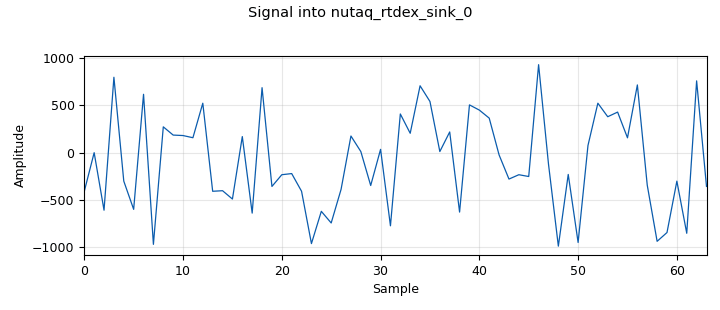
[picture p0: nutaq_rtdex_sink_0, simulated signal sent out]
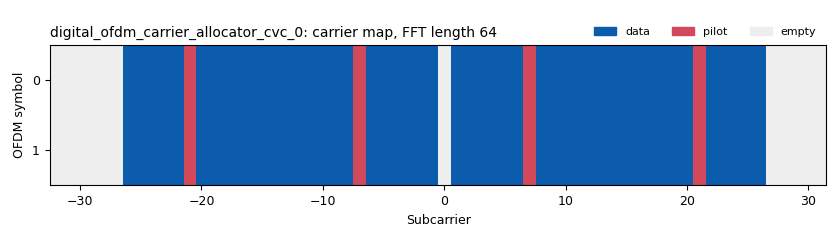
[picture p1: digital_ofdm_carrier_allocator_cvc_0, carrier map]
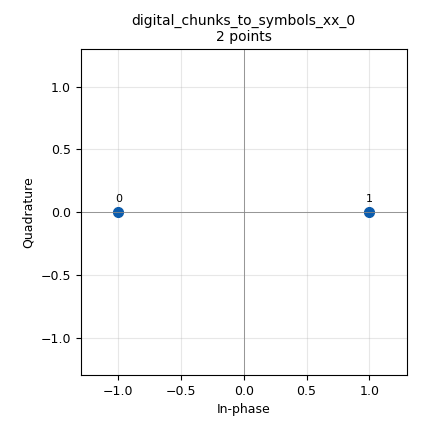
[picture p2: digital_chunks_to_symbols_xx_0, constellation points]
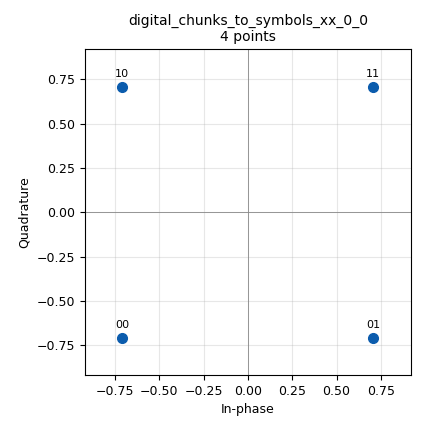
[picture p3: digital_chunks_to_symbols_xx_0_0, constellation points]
<?xml version='1.0' encoding='utf-8'?>
<?grc format='1' created='3.7.9'?>
<flow_graph>
<block>
<key>options</key>
<param><key>id</key><value>tx_ofdm</value></param>
<param><key>category</key><value>Custom</value></param>
<param><key>description</key><value>Example of an OFDM Transmitter</value></param>
<param><key>generate_options</key><value>no_gui</value></param>
<param><key>run_options</key><value>run</value></param>
<param><key>title</key><value>OFDM Tx</value></param>
</block>
<block>
<key>variable</key>
<param><key>id</key><value>fft_len</value></param>
<param><key>value</key><value>64</value></param>
</block>
<block>
<key>variable</key>
<param><key>id</key><value>header_formatter</value></param>
<param><key>value</key><value>digital.packet_header_ofdm(occupied_carriers, 1, length_tag_key)</value></param>
</block>
<block>
<key>variable</key>
<param><key>id</key><value>header_mod</value></param>
<param><key>value</key><value>digital.constellation_bpsk()</value></param>
</block>
<block>
<key>variable</key>
<param><key>id</key><value>length_tag_key</value></param>
<param><key>value</key><value>"packet_len"</value></param>
</block>
<block>
<key>variable</key>
<param><key>id</key><value>occupied_carriers</value></param>
<param><key>value</key><value>(range(-26, -21) + range(-20, -7) + range(-6, 0) + range(1, 7) + range(8, 21) + range(22, 27),)</value></param>
</block>
<block>
<key>variable</key>
<param><key>id</key><value>packet_len</value></param>
<param><key>value</key><value>96</value></param>
</block>
<block>
<key>variable</key>
<param><key>id</key><value>payload_mod</value></param>
<param><key>value</key><value>digital.constellation_qpsk()</value></param>
</block>
<block>
<key>variable</key>
<param><key>id</key><value>pilot_carriers</value></param>
<param><key>value</key><value>((-21, -7, 7, 21,),)</value></param>
</block>
<block>
<key>variable</key>
<param><key>id</key><value>pilot_symbols</value></param>
<param><key>value</key><value>((1, 1, 1, -1,),)</value></param>
</block>
<block>
<key>variable</key>
<param><key>id</key><value>rolloff</value></param>
<param><key>value</key><value>0</value></param>
</block>
<block>
<key>variable</key>
<param><key>id</key><value>samp_rate</value></param>
<param><key>value</key><value>5000000</value></param>
</block>
<block>
<key>variable</key>
<param><key>id</key><value>sync_word1</value></param>
<param><key>value</key><value>[0., 0., 0., 0., 0., 0., 0., 1.41421356, 0., -1.41421356, 0., 1.41421356, 0., -1.41421356, 0., -1.41421356, 0., -1.41421356, 0., 1.41421356, 0., -1.41421356, 0., 1.41421356, 0., -1.41421356, 0., -1.41421356, 0., -1.41421356, 0., -1.41421356, 0., 1.41421356, 0., -1.41421356, 0., 1.41421356, 0., 1.41421356, 0., 1.41421356, 0., -1.41421356, 0., 1.41421356, 0., 1.41421356, 0., 1.41421356, 0., -1.41421356, 0., 1.41421356, 0., 1.41421356, 0., 1.41421356, 0., 0., 0., 0., 0., 0.]</value></param>
</block>
<block>
<key>variable</key>
<param><key>id</key><value>sync_word2</value></param>
<param><key>value</key><value>[0, 0, 0, 0, 0, 0, -1, -1, -1, -1, 1, 1, -1, -1, -1, 1, -1, 1, 1, 1, 1, 1, -1, -1, -1, -1, -1, 1, -1, -1, 1, -1, 0, 1, -1, 1, 1, 1, -1, 1, 1, 1, -1, 1, 1, 1, 1, -1, 1, -1, -1, -1, 1, -1, 1, -1, -1, -1, -1, 0, 0, 0, 0, 0] </value></param>
</block>
<block>
<key>analog_const_source_x</key>
<param><key>id</key><value>analog_const_source_x_0</value></param>
<param><key>const</key><value>1</value></param>
<param><key>type</key><value>int</value></param>
</block>
<block>
<key>analog_random_source_x</key>
<param><key>id</key><value>analog_random_source_x_0</value></param>
<param><key>max</key><value>255</value></param>
<param><key>min</key><value>0</value></param>
<param><key>num_samps</key><value>1000</value></param>
<param><key>type</key><value>byte</value></param>
<param><key>repeat</key><value>True</value></param>
</block>
<block>
<key>blocks_complex_to_float</key>
<param><key>id</key><value>blocks_complex_to_float_0</value></param>
</block>
<block>
<key>blocks_float_to_short</key>
<param><key>id</key><value>blocks_float_to_short_0_0</value></param>
<param><key>scale</key><value>2**11-1</value></param>
</block>
<block>
<key>blocks_float_to_short</key>
<param><key>id</key><value>blocks_float_to_short_0_0_0</value></param>
<param><key>scale</key><value>2**11-1</value></param>
</block>
<block>
<key>blocks_interleave</key>
<param><key>id</key><value>blocks_interleave_0</value></param>
<param><key>type</key><value>short</value></param>
</block>
<block>
<key>blocks_multiply_const_vxx</key>
<param><key>id</key><value>blocks_multiply_const_vxx_0</value></param>
<param><key>const</key><value>0.05</value></param>
<param><key>type</key><value>complex</value></param>
</block>
<block>
<key>blocks_repack_bits_bb</key>
<param><key>id</key><value>blocks_repack_bits_bb_0</value></param>
<param><key>k</key><value>8</value></param>
<param><key>l</key><value>payload_mod.bits_per_symbol()</value></param>
<param><key>endianness</key><value>gr.GR_LSB_FIRST</value></param>
<param><key>len_tag_key</key><value>length_tag_key</value></param>
</block>
<block>
<key>blocks_stream_to_tagged_stream</key>
<param><key>id</key><value>blocks_stream_to_tagged_stream_0</value></param>
<param><key>len_tag_key</key><value>length_tag_key</value></param>
<param><key>packet_len</key><value>packet_len</value></param>
<param><key>type</key><value>byte</value></param>
</block>
<block>
<key>blocks_tag_gate</key>
<param><key>id</key><value>blocks_tag_gate_0</value></param>
<param><key>type</key><value>complex</value></param>
<param><key>propagate_tags</key><value>False</value></param>
</block>
<block>
<key>blocks_tagged_stream_mux</key>
<param><key>id</key><value>blocks_tagged_stream_mux_0</value></param>
<param><key>type</key><value>complex</value></param>
<param><key>lengthtagname</key><value>length_tag_key</value></param>
<param><key>ninputs</key><value>2</value></param>
</block>
<block>
<key>digital_chunks_to_symbols_xx</key>
<param><key>id</key><value>digital_chunks_to_symbols_xx_0</value></param>
<param><key>dimension</key><value>1</value></param>
<param><key>in_type</key><value>byte</value></param>
<param><key>out_type</key><value>complex</value></param>
<param><key>symbol_table</key><value>header_mod.points()</value></param>
</block>
<block>
<key>digital_chunks_to_symbols_xx</key>
<param><key>id</key><value>digital_chunks_to_symbols_xx_0_0</value></param>
<param><key>dimension</key><value>1</value></param>
<param><key>in_type</key><value>byte</value></param>
<param><key>out_type</key><value>complex</value></param>
<param><key>symbol_table</key><value>payload_mod.points()</value></param>
</block>
<block>
<key>digital_crc32_bb</key>
<param><key>id</key><value>digital_crc32_bb_0</value></param>
<param><key>lengthtagname</key><value>length_tag_key</value></param>
<param><key>check</key><value>False</value></param>
<param><key>packed</key><value>True</value></param>
</block>
<block>
<key>digital_ofdm_carrier_allocator_cvc</key>
<param><key>id</key><value>digital_ofdm_carrier_allocator_cvc_0</value></param>
<param><key>fft_len</key><value>fft_len</value></param>
<param><key>len_tag_key</key><value>length_tag_key</value></param>
<param><key>occupied_carriers</key><value>occupied_carriers</value></param>
<param><key>pilot_carriers</key><value>pilot_carriers</value></param>
<param><key>pilot_symbols</key><value>pilot_symbols</value></param>
<param><key>sync_words</key><value>(sync_word1, sync_word2)</value></param>
</block>
<block>
<key>digital_ofdm_cyclic_prefixer</key>
<param><key>id</key><value>digital_ofdm_cyclic_prefixer_0</value></param>
<param><key>cp_len</key><value>fft_len/4</value></param>
<param><key>input_size</key><value>fft_len</value></param>
<param><key>tagname</key><value>length_tag_key</value></param>
<param><key>rolloff</key><value>rolloff</value></param>
</block>
<block>
<key>digital_packet_headergenerator_bb</key>
<param><key>id</key><value>digital_packet_headergenerator_bb_0</value></param>
<param><key>header_formatter</key><value>header_formatter.formatter()</value></param>
<param><key>len_tag_key</key><value>"packet_len"</value></param>
</block>
<block>
<key>fft_vxx</key>
<param><key>id</key><value>fft_vxx_0</value></param>
<param><key>fft_size</key><value>fft_len</value></param>
<param><key>forward</key><value>False</value></param>
<param><key>type</key><value>complex</value></param>
<param><key>shift</key><value>True</value></param>
<param><key>window</key><value>()</value></param>
</block>
<block>
<key>virtual_sink</key>
<param><key>id</key><value>header_bits</value></param>
<param><key>stream_id</key><value>Header Bits</value></param>
</block>
<block>
<key>import</key>
<param><key>id</key><value>import_0</value></param>
<param><key>import</key><value>import numpy</value></param>
</block>
<block>
<key>import</key>
<param><key>id</key><value>import_0_0</value></param>
<param><key>import</key><value>import random</value></param>
</block>
<block>
<key>import</key>
<param><key>id</key><value>import_1</value></param>
<param><key>import</key><value>from gnuradio.digital.utils import tagged_streams</value></param>
</block>
<block>
<key>nutaq_carrier_perseus</key>
<param><key>id</key><value>nutaq_carrier_perseus_0</value></param>
<param><key>ip_addr</key><value>192.168.0.101</value></param>
</block>
<block>
<key>nutaq_custom_register</key>
<param><key>id</key><value>nutaq_custom_register_0</value></param>
<param><key>block_priority</key><value>5</value></param>
<param><key>index</key><value>4</value></param>
<param><key>value</key><value>0</value></param>
<param><key>target_id</key><value>nutaq_carrier_perseus_0</value></param>
<param><key>update_rate</key><value>1</value></param>
</block>
<block>
<key>nutaq_custom_register</key>
<param><key>id</key><value>nutaq_custom_register_0_0</value></param>
<param><key>block_priority</key><value>5</value></param>
<param><key>index</key><value>3</value></param>
<param><key>value</key><value>0</value></param>
<param><key>target_id</key><value>nutaq_carrier_perseus_0</value></param>
<param><key>update_rate</key><value>1</value></param>
</block>
<block>
<key>nutaq_custom_register</key>
<param><key>id</key><value>nutaq_custom_register_0_1</value></param>
<param><key>block_priority</key><value>6</value></param>
<param><key>index</key><value>1</value></param>
<param><key>value</key><value>6</value></param>
<param><key>target_id</key><value>nutaq_carrier_perseus_0</value></param>
<param><key>update_rate</key><value>1</value></param>
</block>
<block>
<key>nutaq_radio420_rx</key>
<param><key>id</key><value>nutaq_radio420_rx_0_0</value></param>
<param><key>calibrate</key><value>1</value></param>
<param><key>band</key><value>1</value></param>
<param><key>block_priority</key><value>1</value></param>
<param><key>selected_card</key><value>1</value></param>
<param><key>datarate</key><value>samp_rate*2</value></param>
<param><key>enable</key><value>1</value></param>
<param><key>pll_cpld_ctrl</key><value>0</value></param>
<param><key>rx_rf_filter</key><value>2</value></param>
<param><key>rx_gain_ctrl</key><value>0</value></param>
<param><key>rx_lna_gain</key><value>2</value></param>
<param><key>rx_lpf_bandwidth</key><value>6</value></param>
<param><key>rx_vga1_gain</key><value>1</value></param>
<param><key>rx_freq</key><value>2490000000</value></param>
<param><key>rx_gain2</key><value>20</value></param>
<param><key>rx_gain3</key><value>8</value></param>
<param><key>rf_ctrl</key><value>0</value></param>
<param><key>ref_clk_ctrl</key><value>0</value></param>
<param><key>reference</key><value>0</value></param>
<param><key>target_id</key><value>nutaq_carrier_perseus_0</value></param>
<param><key>update_rate</key><value>1</value></param>
</block>
<block>
<key>nutaq_radio420_tx</key>
<param><key>id</key><value>nutaq_radio420_tx_0_0</value></param>
<param><key>calibrate</key><value>1</value></param>
<param><key>band</key><value>0</value></param>
<param><key>block_priority</key><value>0</value></param>
<param><key>selected_card</key><value>1</value></param>
<param><key>datarate</key><value>samp_rate*2</value></param>
<param><key>enable</key><value>1</value></param>
<param><key>pll_cpld_ctrl</key><value>0</value></param>
<param><key>rf_ctrl</key><value>0</value></param>
<param><key>ref_clk_ctrl</key><value>0</value></param>
<param><key>reference</key><value>0</value></param>
<param><key>tx_gain_ctrl</key><value>0</value></param>
<param><key>tx_lpf_bandwidth</key><value>4</value></param>
<param><key>tx_vga1_gain</key><value>-10</value></param>
<param><key>tx_vga2_gain</key><value>15</value></param>
<param><key>tx_freq</key><value>2490000000</value></param>
<param><key>tx_gain3</key><value>3</value></param>
<param><key>target_id</key><value>nutaq_carrier_perseus_0</value></param>
<param><key>update_rate</key><value>1</value></param>
</block>
<block>
<key>nutaq_rtdex_sink</key>
<param><key>id</key><value>nutaq_rtdex_sink_0</value></param>
<param><key>block_priority</key><value>3</value></param>
<param><key>channels</key><value>1</value></param>
<param><key>type</key><value>short</value></param>
<param><key>media_type</key><value>0</value></param>
<param><key>num_chan</key><value>1</value></param>
<param><key>packet_size</key><value>8192</value></param>
<param><key>target_id</key><value>nutaq_carrier_perseus_0</value></param>
</block>
<block>
<key>virtual_sink</key>
<param><key>id</key><value>virtual_sink_0</value></param>
<param><key>stream_id</key><value>Time Domain</value></param>
</block>
<block>
<key>virtual_sink</key>
<param><key>id</key><value>virtual_sink_0_0</value></param>
<param><key>stream_id</key><value>Payload Bits</value></param>
</block>
<block>
<key>virtual_sink</key>
<param><key>id</key><value>virtual_sink_0_0_0</value></param>
<param><key>stream_id</key><value>Pre-OFDM</value></param>
</block>
<block>
<key>virtual_sink</key>
<param><key>id</key><value>virtual_sink_1</value></param>
<param><key>stream_id</key><value>Tx Signal</value></param>
</block>
<block>
<key>virtual_source</key>
<param><key>id</key><value>virtual_source_0</value></param>
<param><key>stream_id</key><value>Header Bits</value></param>
</block>
<block>
<key>virtual_source</key>
<param><key>id</key><value>virtual_source_0_0</value></param>
<param><key>stream_id</key><value>Payload Bits</value></param>
</block>
<block>
<key>virtual_source</key>
<param><key>id</key><value>virtual_source_0_0_0</value></param>
<param><key>stream_id</key><value>Pre-OFDM</value></param>
</block>
<block>
<key>virtual_source</key>
<param><key>id</key><value>virtual_source_0_0_0_0</value></param>
<param><key>stream_id</key><value>Time Domain</value></param>
</block>
<block>
<key>virtual_source</key>
<param><key>id</key><value>virtual_source_1</value></param>
<param><key>stream_id</key><value>Tx Signal</value></param>
</block>
<connection><source_block_id>analog_const_source_x_0</source_block_id><sink_block_id>nutaq_custom_register_0_0</sink_block_id><source_key>0</source_key><sink_key>0</sink_key></connection>
<connection><source_block_id>analog_random_source_x_0</source_block_id><sink_block_id>blocks_stream_to_tagged_stream_0</sink_block_id><source_key>0</source_key><sink_key>0</sink_key></connection>
<connection><source_block_id>blocks_complex_to_float_0</source_block_id><sink_block_id>blocks_float_to_short_0_0_0</sink_block_id><source_key>1</source_key><sink_key>0</sink_key></connection>
<connection><source_block_id>blocks_complex_to_float_0</source_block_id><sink_block_id>blocks_float_to_short_0_0</sink_block_id><source_key>0</source_key><sink_key>0</sink_key></connection>
<connection><source_block_id>blocks_float_to_short_0_0</source_block_id><sink_block_id>blocks_interleave_0</sink_block_id><source_key>0</source_key><sink_key>0</sink_key></connection>
<connection><source_block_id>blocks_float_to_short_0_0_0</source_block_id><sink_block_id>blocks_interleave_0</sink_block_id><source_key>0</source_key><sink_key>1</sink_key></connection>
<connection><source_block_id>blocks_interleave_0</source_block_id><sink_block_id>nutaq_rtdex_sink_0</sink_block_id><source_key>0</source_key><sink_key>0</sink_key></connection>
<connection><source_block_id>blocks_multiply_const_vxx_0</source_block_id><sink_block_id>blocks_tag_gate_0</sink_block_id><source_key>0</source_key><sink_key>0</sink_key></connection>
<connection><source_block_id>blocks_repack_bits_bb_0</source_block_id><sink_block_id>virtual_sink_0_0</sink_block_id><source_key>0</source_key><sink_key>0</sink_key></connection>
<connection><source_block_id>blocks_stream_to_tagged_stream_0</source_block_id><sink_block_id>digital_crc32_bb_0</sink_block_id><source_key>0</source_key><sink_key>0</sink_key></connection>
<connection><source_block_id>blocks_tag_gate_0</source_block_id><sink_block_id>virtual_sink_1</sink_block_id><source_key>0</source_key><sink_key>0</sink_key></connection>
<connection><source_block_id>blocks_tagged_stream_mux_0</source_block_id><sink_block_id>virtual_sink_0_0_0</sink_block_id><source_key>0</source_key><sink_key>0</sink_key></connection>
<connection><source_block_id>digital_chunks_to_symbols_xx_0</source_block_id><sink_block_id>blocks_tagged_stream_mux_0</sink_block_id><source_key>0</source_key><sink_key>0</sink_key></connection>
<connection><source_block_id>digital_chunks_to_symbols_xx_0_0</source_block_id><sink_block_id>blocks_tagged_stream_mux_0</sink_block_id><source_key>0</source_key><sink_key>1</sink_key></connection>
<connection><source_block_id>digital_crc32_bb_0</source_block_id><sink_block_id>blocks_repack_bits_bb_0</sink_block_id><source_key>0</source_key><sink_key>0</sink_key></connection>
<connection><source_block_id>digital_crc32_bb_0</source_block_id><sink_block_id>digital_packet_headergenerator_bb_0</sink_block_id><source_key>0</source_key><sink_key>0</sink_key></connection>
<connection><source_block_id>digital_ofdm_carrier_allocator_cvc_0</source_block_id><sink_block_id>fft_vxx_0</sink_block_id><source_key>0</source_key><sink_key>0</sink_key></connection>
<connection><source_block_id>digital_ofdm_cyclic_prefixer_0</source_block_id><sink_block_id>virtual_sink_0</sink_block_id><source_key>0</source_key><sink_key>0</sink_key></connection>
<connection><source_block_id>digital_packet_headergenerator_bb_0</source_block_id><sink_block_id>header_bits</sink_block_id><source_key>0</source_key><sink_key>0</sink_key></connection>
<connection><source_block_id>fft_vxx_0</source_block_id><sink_block_id>digital_ofdm_cyclic_prefixer_0</sink_block_id><source_key>0</source_key><sink_key>0</sink_key></connection>
<connection><source_block_id>virtual_source_0</source_block_id><sink_block_id>digital_chunks_to_symbols_xx_0</sink_block_id><source_key>0</source_key><sink_key>0</sink_key></connection>
<connection><source_block_id>virtual_source_0_0</source_block_id><sink_block_id>digital_chunks_to_symbols_xx_0_0</sink_block_id><source_key>0</source_key><sink_key>0</sink_key></connection>
<connection><source_block_id>virtual_source_0_0_0</source_block_id><sink_block_id>digital_ofdm_carrier_allocator_cvc_0</sink_block_id><source_key>0</source_key><sink_key>0</sink_key></connection>
<connection><source_block_id>virtual_source_0_0_0_0</source_block_id><sink_block_id>blocks_multiply_const_vxx_0</sink_block_id><source_key>0</source_key><sink_key>0</sink_key></connection>
<connection><source_block_id>virtual_source_1</source_block_id><sink_block_id>blocks_complex_to_float_0</sink_block_id><source_key>0</source_key><sink_key>0</sink_key></connection>
</flow_graph>
